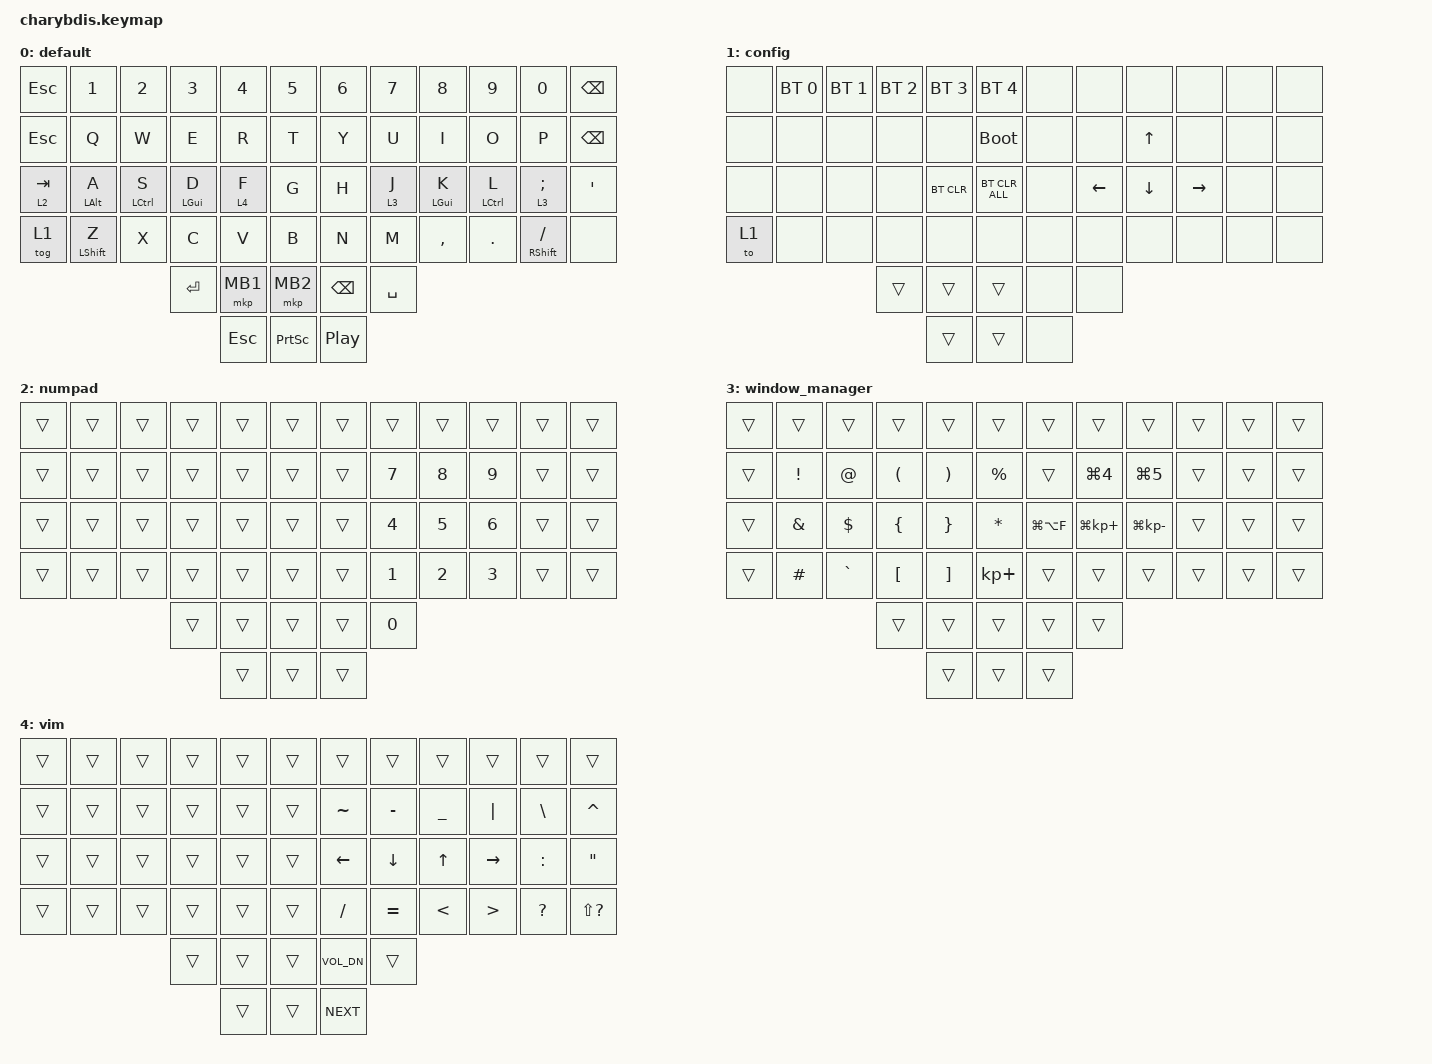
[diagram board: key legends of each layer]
#define ZMK_POINTING_DEFAULT_MOVE_VAL 1000  // Default: 600 (cursor speed)
#define ZMK_POINTING_DEFAULT_SCRL_VAL 15    // Default: 10 (scroll speed)

#include <behaviors.dtsi>
#include <dt-bindings/zmk/bt.h>
#include <dt-bindings/zmk/keys.h>
#include <dt-bindings/zmk/pointing.h>

&lt {
    tapping-term-ms = <200>;
    flavor = "balanced";
    quick-tap-ms = <150>;
};

&mt {
    tapping-term-ms = <210>;
    quick-tap-ms = <180>;
    flavor = "tap-preferred";
};

/ {
    behaviors {
        pinky_layer: pinky_layer {
            compatible = "zmk,behavior-hold-tap";
            label = "PINKY_LAYER";
            bindings = <&mo>, <&kp>;

            #binding-cells = <2>;
            tapping-term-ms = <120>;
            quick-tap-ms = <120>;
            flavor = "balanced";
        };

        homemode: homemode {
            compatible = "zmk,behavior-hold-tap";
            label = "HOMEMODE";
            bindings = <&mo>, <&kp>;

            #binding-cells = <2>;
            tapping-term-ms = <150>;
            quick-tap-ms = <150>;
            flavor = "balanced";
        };

        hrmode: hrmode {
            compatible = "zmk,behavior-hold-tap";
            label = "HRMODE";
            bindings = <&kp>, <&kp>;

            #binding-cells = <2>;
            tapping-term-ms = <150>;
            quick-tap-ms = <150>;
            flavor = "tap-preferred";
        };

        pinky_kp: pinky_kp {
            compatible = "zmk,behavior-hold-tap";
            label = "PINKY_KP";
            bindings = <&kp>, <&kp>;

            #binding-cells = <2>;
            tapping-term-ms = <140>;
            quick-tap-ms = <140>;
            flavor = "balanced";
        };
    };

    keymap {
        compatible = "zmk,keymap";

        default {
            bindings = <
&kp ESC             &kp N1              &kp N2           &kp N3          &kp N4         &kp N5             &kp N6         &kp N7         &kp N8          &kp N9           &kp N0                  &kp BACKSPACE
&kp ESCAPE          &kp Q               &kp W            &kp E           &kp R          &kp T              &kp Y          &kp U          &kp I           &kp O            &kp P                   &kp BACKSPACE
&pinky_layer 2 TAB  &mt LALT A          &hrmode LCTRL S  &hrmode LGUI D  &homemode 4 F  &kp G              &kp H          &homemode 3 J  &hrmode LGUI K  &hrmode LCTRL L  &pinky_layer 3 SEMI     &kp SQT
&tog 1              &pinky_kp LSHIFT Z  &kp X            &kp C           &kp V          &kp B              &kp N          &kp M          &kp COMMA       &kp DOT          &pinky_kp RSHIFT SLASH  &none
                                                         &kp ENTER       &mkp MB1       &mkp MB2           &kp BACKSPACE  &kp SPACE
                                                                         &kp ESC        &kp PRINTSCREEN    &kp C_PP
            >;
        };

        config {
            bindings = <
&none  &bt BT_SEL 0  &bt BT_SEL 1  &bt BT_SEL 2  &bt BT_SEL 3  &bt BT_SEL 4      &none  &none     &none     &none      &none  &none
&none  &none         &none         &none         &none         &bootloader       &none  &none     &kp UP    &none      &none  &none
&none  &none         &none         &none         &bt BT_CLR    &bt BT_CLR_ALL    &none  &kp LEFT  &kp DOWN  &kp RIGHT  &none  &none
&to 1  &none         &none         &none         &none         &none             &none  &none     &none     &none      &none  &none
                                   &trans        &trans        &trans            &none  &none
                                                 &trans        &trans            &none
            >;
        };

        numpad {
            bindings = <
&trans  &trans  &trans  &trans  &trans  &trans    &trans  &trans  &trans  &trans  &trans  &trans
&trans  &trans  &trans  &trans  &trans  &trans    &trans  &kp N7  &kp N8  &kp N9  &trans  &trans
&trans  &trans  &trans  &trans  &trans  &trans    &trans  &kp N4  &kp N5  &kp N6  &trans  &trans
&trans  &trans  &trans  &trans  &trans  &trans    &trans  &kp N1  &kp N2  &kp N3  &trans  &trans
                        &trans  &trans  &trans    &trans  &kp N0
                                &trans  &trans    &trans
            >;
        };

        window_manager {
            bindings = <
&trans  &trans           &trans       &trans          &trans           &trans          &trans         &trans           &trans            &trans  &trans  &trans
&trans  &kp EXCLAMATION  &kp AT_SIGN  &kp LPAR        &kp RPAR         &kp PERCENT     &trans         &kp LG(N4)       &kp LG(N5)        &trans  &trans  &trans
&trans  &kp AMPERSAND    &kp DOLLAR   &kp LEFT_BRACE  &kp RIGHT_BRACE  &kp ASTERISK    &kp LG(LA(F))  &kp LG(KP_PLUS)  &kp LG(KP_MINUS)  &trans  &trans  &trans
&trans  &kp HASH         &kp GRAVE    &kp LBKT        &kp RBKT         &kp KP_PLUS     &trans         &trans           &trans            &trans  &trans  &trans
                                      &trans          &trans           &trans          &trans         &trans
                                                      &trans           &trans          &trans
            >;
        };

        vim {
            bindings = <
&trans  &trans  &trans  &trans  &trans  &trans    &trans        &trans        &trans         &trans            &trans        &trans
&trans  &trans  &trans  &trans  &trans  &trans    &kp TILDE     &kp MINUS     &kp UNDER      &kp PIPE          &kp BSLH      &kp CARET
&trans  &trans  &trans  &trans  &trans  &trans    &kp LEFT      &kp DOWN      &kp UP         &kp RIGHT         &kp COLON     &kp DOUBLE_QUOTES
&trans  &trans  &trans  &trans  &trans  &trans    &kp FSLH      &kp EQUAL     &kp LESS_THAN  &kp GREATER_THAN  &kp QUESTION  &kp LS(QMARK)
                        &trans  &trans  &trans    &kp C_VOL_DN  &trans
                                &trans  &trans    &kp C_NEXT
            >;
        };

        /* layer_2 {
            bindings = <
&none  &none   &none    &none   &none         &none         &kp N1         &none         &none     &none  &none   &to 0
&none  &none   &none    &none   &none         &none         &none         &none          &rgb_ug RGB_BRD &rgb_ug RGB_BRI  &rgb_ug RGB_EFF   &rgb_ug RGB_TOG
&none  &none   &none    &none   &none         &none         &none         &mkp LCLK     &mkp RCLK  &none  &none   &none
&none  &none   &none    &none   &bt BT_NXT  &bt BT_CLR    &none         &none         &none     &none  &none   &none
                                   &none         &none         &none         &none         &none
                                                 &none         &none         &none
            >;


        };

       Mouse {
            bindings = <
&none        &none         &none         &none         &none      &none         &none       &none      &none         &none         &none         &none
&none        &bt BT_SEL 0  &bt BT_SEL 1  &bt BT_SEL 3  &none      &bt BT_CLR    &bt BT_CLR  &none      &bt BT_SEL 2  &bt BT_SEL 1  &bt BT_SEL 0  &none
&none        &trans        &trans        &mkp MCLK     &trans     &none         &none       &trans     &mkp MCLK     &trans        &trans        &none
&bootloader  &trans        &mkp RCLK     &mo 4         &mkp LCLK  &mo 5         &mo 5       &mkp LCLK  &mo 4         &mkp RCLK     &trans        &bootloader
                                         &mo 5         &mkp LCLK  &mkp RCLK     &mkp RCLK   &mkp LCLK
                                                       &none      &trans        &trans
            >;


        };

        layer_4 {
            bindings = <
&trans  &trans  &trans     &trans     &trans     &trans       &trans     &trans     &trans     &trans     &trans  &trans
&trans  &trans  &trans     &trans     &trans     &trans       &trans     &trans     &trans     &trans     &trans  &trans
&trans  &trans  &trans     &mkp MCLK  &trans     &trans       &trans     &trans     &mkp MCLK  &trans     &trans  &trans
&trans  &trans  &mkp RCLK  &trans     &mkp LCLK  &trans       &trans     &mkp LCLK  &trans     &mkp RCLK  &trans  &trans
                           &trans     &mkp LCLK  &mkp RCLK    &mkp RCLK  &mkp LCLK
                                      &trans     &trans       &trans
            >;



        };

        layer_5 {
            bindings = <
&trans  &trans  &trans     &trans     &trans     &trans       &trans     &trans     &trans     &trans     &trans  &trans
&trans  &trans  &trans     &trans     &trans     &trans       &trans     &trans     &trans     &trans     &trans  &trans
&trans  &trans  &trans     &mkp MCLK  &trans     &trans       &trans     &trans     &mkp MCLK  &trans     &trans  &trans
&trans  &trans  &mkp RCLK  &trans     &mkp LCLK  &trans       &trans     &mkp LCLK  &trans     &mkp RCLK  &trans  &trans
                           &trans     &mkp LCLK  &mkp RCLK    &mkp RCLK  &mkp LCLK
                                      &trans     &trans       &trans
            >;


        };*/
    };
};
